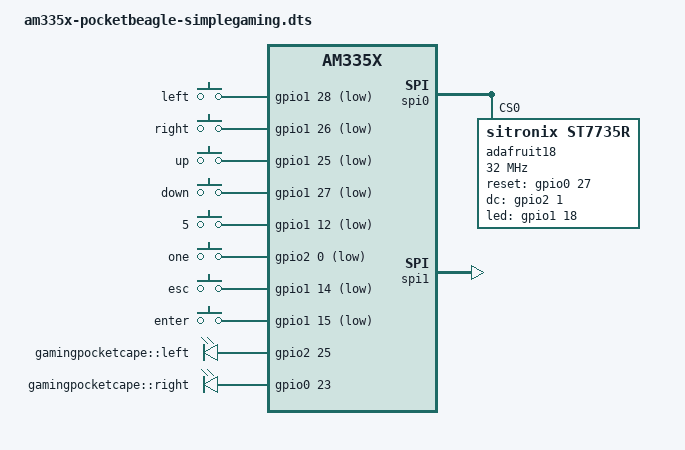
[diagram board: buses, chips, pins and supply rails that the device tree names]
/dts-v1/;

#include "am335x-pocketbeagle-common.dtsi"

&spi0 {
	#address-cells = <1>;
	#size-cells = <0>;
	status = "okay";

	adafruit18: adafruit18@0{
		compatible = "sitronix,st7735r";
		reg = <0>;
		buswidth = <8>;
		reset-gpios = <&gpio0 27 0>;
		dc-gpios = <&gpio2 1 0>;
		led-gpios = <&gpio1 18 0>;
		debug = <1>;
		spi-max-frequency = <32000000>;
		rotate = <0>;
		bgr;
		fps = <30>;
	};
};

&spi1 {
	#address-cells = <1>;
	#size-cells = <0>;
	status = "okay";

	channel@0 {
		#address-cells = <1>;
		#size-cells = <0>;
		compatible = "spidev";
		reg = <0>;
		spi-max-frequency = <24000000>;
		status = "disabled";
	};

	channel@1 {
		#address-cells = <1>;
		#size-cells = <0>;
		compatible = "spidev";
		reg = <1>;
		spi-max-frequency = <24000000>;
	};
};

/ {
	gpio-keys {
		compatible = "gpio-keys";
		autorepeat;

		pinctrl-names = "default";
		pinctrl-0 = <&P2_02_gpio_pu_pin &P2_04_gpio_pu_pin &P2_06_gpio_pu_pin &P2_08_gpio_pu_pin
				&P2_18_gpio_pu_pin &P2_20_gpio_pu_pin &P2_22_gpio_pu_pin &P2_24_gpio_pu_pin
			>;

		left {
			label = "left";
			linux,code = <105>;
			gpios = <&gpio1 28 GPIO_ACTIVE_LOW>;
		};

		right {
			label = "right";
			linux,code = <106>;
			gpios = <&gpio1 26 GPIO_ACTIVE_LOW>;
		};

		up {
			label = "up";
			linux,code = <103>;
			gpios = <&gpio1 25 GPIO_ACTIVE_LOW>;
		};

		down {
			label = "down";
			linux,code = <108>;
			gpios = <&gpio1 27 GPIO_ACTIVE_LOW>;
		};

		five {
			label = "5";
			linux,code = <6>;
			gpios = <&gpio1 12 GPIO_ACTIVE_LOW>;
		};

		one {
			label = "one";
			linux,code = <2>;
			gpios = <&gpio2 0 GPIO_ACTIVE_LOW>;
		};

		esc {
			label = "esc";
			linux,code = <1>;
			gpios = <&gpio1 14 GPIO_ACTIVE_LOW>;
		};

		enter {
			label = "enter";
			linux,code = <28>;
			gpios = <&gpio1 15 GPIO_ACTIVE_LOW>;
		};
	};
};

/ {
	capeleds {
		pinctrl-names = "default";
		pinctrl-0 = <&P1_04_gpio_pin &P2_03_gpio_pin>;

		compatible = "gpio-leds";

		led@1 {
			label = "gamingpocketcape::left";
			gpios = <&gpio2 25 GPIO_ACTIVE_HIGH>;
			default-state = "off";
		};

		led@2 {
			label = "gamingpocketcape::right";
			gpios = <&gpio0 23 GPIO_ACTIVE_HIGH>;
			default-state = "off";
		};
	};
};
